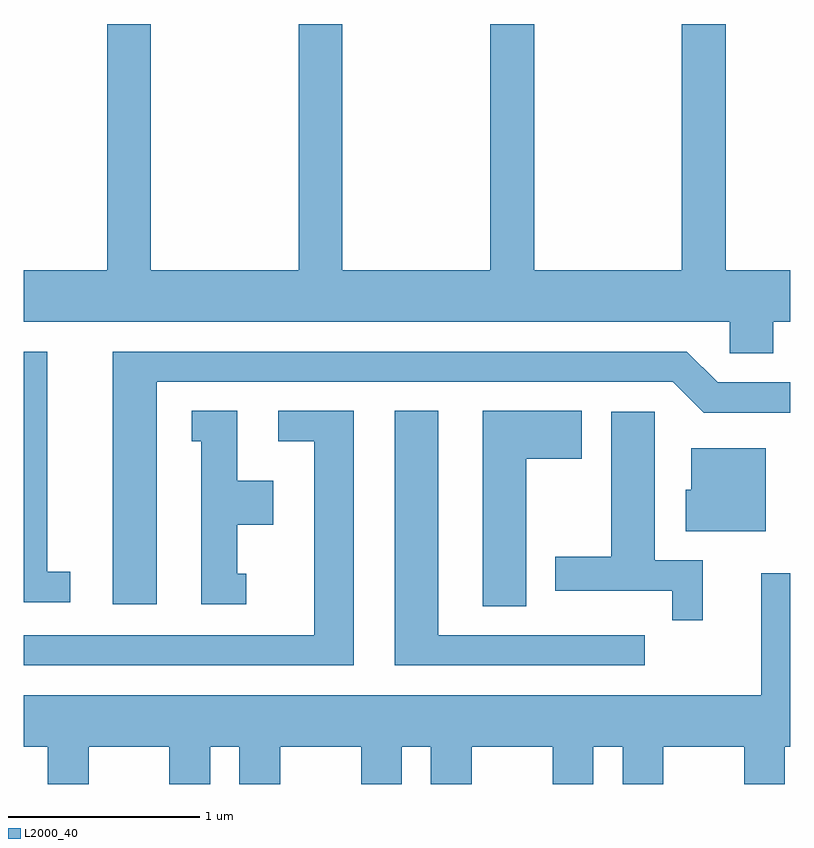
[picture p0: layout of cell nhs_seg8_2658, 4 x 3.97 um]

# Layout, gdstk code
import gdstk
lib = gdstk.Library(unit=1e-6, precision=1e-09)
def P(c, l, *ps):  # polygons
    for p in ps: c.add(gdstk.Polygon(p, *l))
L2000_40 = (2000, 40)

nhs_seg8_2658 = lib.new_cell('nhs_seg8_2658')
P(nhs_seg8_2658, L2000_40, [(267.524,1940.756),(267.611,1940.756),(267.611,1941.024),(267.274,1941.024),(267.274,1942.309),(267.046,1942.309),(267.046,1941.024),(266.274,1941.024),(266.274,1942.309),(266.046,1942.309),(266.046,1941.024),(265.274,1941.024),(265.274,1942.309),(265.046,1942.309),(265.046,1941.024),(264.274,1941.024),(264.274,1942.309),(264.046,1942.309),(264.046,1941.024),(263.611,1941.024),(263.611,1940.756),(267.296,1940.756),(267.296,1940.591),(267.524,1940.591)],
  [(264.304,1940.441),(266.999,1940.441),(267.159,1940.281),(267.611,1940.281),(267.611,1940.439),(267.232,1940.439),(267.072,1940.599),(264.076,1940.599),(264.076,1939.281),(264.304,1939.281)],
  [(263.853,1939.449),(263.734,1939.449),(263.734,1940.599),(263.611,1940.599),(263.611,1939.291),(263.853,1939.291)],
  [(265.334,1940.289),(264.938,1940.289),(264.938,1940.131),(265.126,1940.131),(265.126,1939.119),(263.611,1939.119),(263.611,1938.961),(265.334,1938.961)],
  [(266.234,1940.041),(266.524,1940.041),(266.524,1940.289),(266.006,1940.289),(266.006,1939.271),(266.234,1939.271)],
  [(266.853,1939.119),(265.774,1939.119),(265.774,1940.289),(265.546,1940.289),(265.546,1938.961),(266.853,1938.961)],
  [(264.773,1939.439),(264.724,1939.439),(264.724,1939.696),(264.914,1939.696),(264.914,1939.924),(264.724,1939.924),(264.724,1940.289),(264.488,1940.289),(264.488,1940.131),(264.536,1940.131),(264.536,1939.281),(264.773,1939.281)],
  [(267.154,1939.509),(266.904,1939.509),(266.904,1940.284),(266.676,1940.284),(266.676,1939.529),(266.386,1939.529),(266.386,1939.351),(266.996,1939.351),(266.996,1939.198),(267.154,1939.198)],
  [(267.484,1940.094),(267.096,1940.094),(267.096,1939.879),(267.066,1939.879),(267.066,1939.661),(267.484,1939.661)],
  [(263.949,1938.536),(264.371,1938.536),(264.371,1938.342),(264.584,1938.342),(264.584,1938.536),(264.736,1938.536),(264.736,1938.342),(264.949,1938.342),(264.949,1938.536),(265.371,1938.536),(265.371,1938.342),(265.584,1938.342),(265.584,1938.536),(265.736,1938.536),(265.736,1938.342),(265.949,1938.342),(265.949,1938.536),(266.371,1938.536),(266.371,1938.342),(266.584,1938.342),(266.584,1938.536),(266.736,1938.536),(266.736,1938.342),(266.949,1938.342),(266.949,1938.536),(267.371,1938.536),(267.371,1938.342),(267.584,1938.342),(267.584,1938.536),(267.611,1938.536),(267.611,1939.443),(267.461,1939.443),(267.461,1938.804),(263.611,1938.804),(263.611,1938.536),(263.736,1938.536),(263.736,1938.342),(263.949,1938.342)])

lib.write_gds('nhs_seg8_2658.gds')
